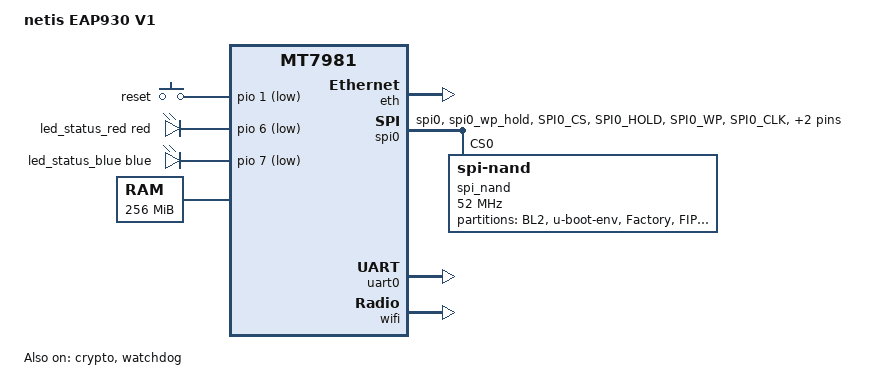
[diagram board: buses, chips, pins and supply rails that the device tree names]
// SPDX-License-Identifier: GPL-2.0-only OR MIT

/dts-v1/;
#include <dt-bindings/gpio/gpio.h>
#include <dt-bindings/input/input.h>
#include <dt-bindings/leds/common.h>

#include "mt7981b.dtsi"

/ {
	model = "netis EAP930 V1";
	compatible = "netis,eap930-v1", "mediatek,mt7981";

	aliases {
		label-mac-device = &gmac1;

		led-boot = &led_status_red;
		led-failsafe = &led_status_red;
		led-running = &led_status_blue;
		led-upgrade = &led_status_red;

		serial0 = &uart0;
	};

	chosen {
		rootdisk = <&ubi_fit>;
		stdout-path = "serial0:115200n8";
	};

	gpio-keys {
		compatible = "gpio-keys";

		button-0 {
			label = "reset";
			gpios = <&pio 1 GPIO_ACTIVE_LOW>;
			linux,code = <KEY_RESTART>;
			debounce-interval = <60>;
		};
	};

	leds {
		compatible = "gpio-leds";

		led_status_red: led-0 {
			color = <LED_COLOR_ID_RED>;
			function = LED_FUNCTION_STATUS;
			gpios = <&pio 6 GPIO_ACTIVE_LOW>;
		};

		led_status_blue: led-1 {
			color = <LED_COLOR_ID_BLUE>;
			function = LED_FUNCTION_STATUS;
			gpios = <&pio 7 GPIO_ACTIVE_LOW>;
		};
	};

	memory@40000000 {
		reg = <0 0x40000000 0 0x10000000>;
		device_type = "memory";
	};
};

&crypto {
	status = "okay";
};

&eth {
	status = "okay";

	mac@0 {
		status = "disabled";
	};

	gmac1: mac@1 {
		compatible = "mediatek,eth-mac";
		reg = <1>;
		phy-mode = "gmii";
		phy-handle = <&int_gbe_phy>;

		label = "lan";
		nvmem-cell-names = "mac-address";
		nvmem-cells = <&macaddr_factory_1fef20 (0)>;
	};
};

&spi0 {
	pinctrl-names = "default";
	pinctrl-0 = <&spi0_flash_pins>;
	status = "okay";

	spi_nand@0 {
		compatible = "spi-nand";
		reg = <0>;

		spi-max-frequency = <52000000>;
		spi-tx-bus-width = <4>;
		spi-rx-bus-width = <4>;

		spi-cal-enable;
		spi-cal-mode = "read-data";
		spi-cal-datalen = <7>;
		spi-cal-data = /bits/ 8 <0x53 0x50 0x49 0x4e 0x41 0x4e 0x44>;
		spi-cal-addrlen = <5>;
		spi-cal-addr = /bits/ 32 <0x0 0x0 0x0 0x0 0x0>;

		partitions {
			compatible = "fixed-partitions";
			#address-cells = <1>;
			#size-cells = <1>;

			partition@0 {
				label = "BL2";
				reg = <0x0 0x100000>;
				read-only;
			};

			partition@100000 {
				label = "u-boot-env";
				reg = <0x100000 0x80000>;
				read-only;
			};

			partition@180000 {
				label = "Factory";
				reg = <0x180000 0x200000>;
				read-only;

				nvmem-layout {
					compatible = "fixed-layout";
					#address-cells = <1>;
					#size-cells = <1>;

					eeprom_factory_0: eeprom@0 {
						reg = <0x0 0x1000>;
					};

					macaddr_factory_1fef20: macaddr@1fef20 {
						compatible = "mac-base";
						reg = <0x1fef20 0x6>;
						#nvmem-cell-cells = <1>;
					};
				};
			};

			partition@380000 {
				label = "FIP";
				reg = <0x380000 0x200000>;
				read-only;
			};

			partition@580000 {
				label = "ubi";
				reg = <0x580000 0x7a80000>;
				compatible = "linux,ubi";

				volumes {
					ubi_fit: ubi-volume-fit {
						volname = "fit";
					};

					ubi_env: ubi-volume-ubootenv {
						volname = "ubootenv";
					};

					ubi_env2: ubi-volume-ubootenv2 {
						volname = "ubootenv2";
					};
				};
			};
		};
	};
};

&pio {
	spi0_flash_pins: spi0-pins {
		mux {
			function = "spi";
			groups = "spi0", "spi0_wp_hold";
		};

		conf-pu {
			pins = "SPI0_CS", "SPI0_HOLD", "SPI0_WP";
			drive-strength = <MTK_DRIVE_8mA>;
			bias-pull-up = <MTK_PUPD_SET_R1R0_11>;
		};

		conf-pd {
			pins = "SPI0_CLK", "SPI0_MOSI", "SPI0_MISO";
			drive-strength = <MTK_DRIVE_8mA>;
			bias-pull-down = <MTK_PUPD_SET_R1R0_11>;
		};
	};
};

&uart0 {
	status = "okay";
};

&ubi_env {
	nvmem-layout {
		compatible = "u-boot,env-redundant-bool-layout";
	};
};

&ubi_env2 {
	nvmem-layout {
		compatible = "u-boot,env-redundant-bool-layout";
	};
};

&watchdog {
	status = "okay";
};

&wifi {
	status = "okay";
	nvmem-cell-names = "eeprom";
	nvmem-cells = <&eeprom_factory_0>;
};
